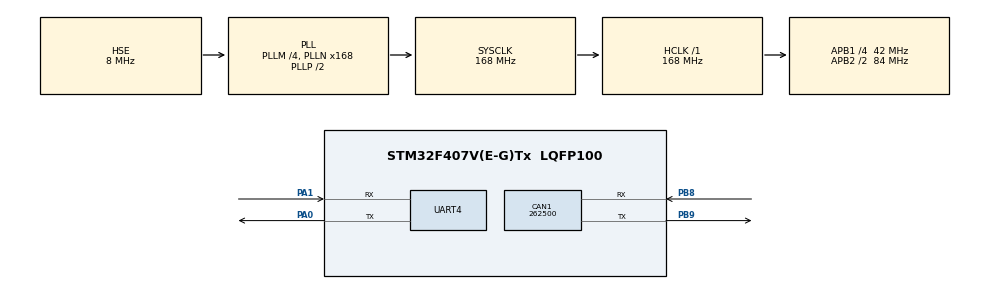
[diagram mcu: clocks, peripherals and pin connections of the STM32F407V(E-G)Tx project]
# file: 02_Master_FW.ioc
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CAN1.BS1=CAN_BS1_6TQ
CAN1.BS2=CAN_BS2_3TQ
CAN1.CalculateBaudRate=262500
CAN1.CalculateTimeBit=3809.52
CAN1.CalculateTimeQuantum=380.95238095238096
Dma.Request0=UART4_TX
Dma.Request1=UART4_RX
Dma.UART4_RX.1.Direction=DMA_PERIPH_TO_MEMORY
Dma.UART4_RX.1.FIFOMode=DMA_FIFOMODE_DISABLE
Dma.UART4_RX.1.Instance=DMA1_Stream2
Dma.UART4_RX.1.MemDataAlignment=DMA_MDATAALIGN_BYTE
Dma.UART4_RX.1.MemInc=DMA_MINC_ENABLE
Dma.UART4_RX.1.Mode=DMA_NORMAL
Dma.UART4_RX.1.PeriphDataAlignment=DMA_PDATAALIGN_BYTE
Dma.UART4_RX.1.PeriphInc=DMA_PINC_DISABLE
Dma.UART4_RX.1.Priority=DMA_PRIORITY_LOW
Dma.UART4_TX.0.Direction=DMA_MEMORY_TO_PERIPH
Dma.UART4_TX.0.FIFOMode=DMA_FIFOMODE_DISABLE
Dma.UART4_TX.0.Instance=DMA1_Stream4
Dma.UART4_TX.0.MemDataAlignment=DMA_MDATAALIGN_BYTE
Dma.UART4_TX.0.MemInc=DMA_MINC_ENABLE
Dma.UART4_TX.0.Mode=DMA_NORMAL
Dma.UART4_TX.0.PeriphDataAlignment=DMA_PDATAALIGN_BYTE
Dma.UART4_TX.0.PeriphInc=DMA_PINC_DISABLE
Dma.UART4_TX.0.Priority=DMA_PRIORITY_LOW
IWDG.Prescaler=IWDG_PRESCALER_16
IWDG.Reload=3999
Mcu.Family=STM32F4
Mcu.Name=STM32F407V(E-G)Tx
Mcu.Package=LQFP100
NVIC.CAN1_RX0_IRQn=true\:0\:0\:false\:false\:true\:true\:true
NVIC.DMA1_Stream2_IRQn=true\:0\:0\:false\:false\:true\:false\:true
NVIC.DMA1_Stream4_IRQn=true\:0\:0\:false\:false\:true\:false\:true
NVIC.PriorityGroup=NVIC_PRIORITYGROUP_4
NVIC.UART4_IRQn=true\:0\:0\:false\:false\:true\:true\:true
PA0-WKUP.Mode=Asynchronous
PA0-WKUP.Signal=UART4_TX
PA1.Mode=Asynchronous
PA1.Signal=UART4_RX
PB8.Mode=CAN_Activate
PB8.Signal=CAN1_RX
PB9.Mode=CAN_Activate
PB9.Signal=CAN1_TX
PH0-OSC_IN.Mode=HSE-External-Oscillator
PH0-OSC_IN.Signal=RCC_OSC_IN
PH1-OSC_OUT.Mode=HSE-External-Oscillator
PH1-OSC_OUT.Signal=RCC_OSC_OUT
ProjectManager.HeapSize=0x200
ProjectManager.StackSize=0x400
ProjectManager.TargetToolchain=MDK-ARM V5.27
RCC.48MHZClocksFreq_Value=84000000
RCC.AHBFreq_Value=168000000
RCC.APB1CLKDivider=RCC_HCLK_DIV4
RCC.APB1Freq_Value=42000000
RCC.APB1TimFreq_Value=84000000
RCC.APB2CLKDivider=RCC_HCLK_DIV2
RCC.APB2Freq_Value=84000000
RCC.APB2TimFreq_Value=168000000
RCC.CortexFreq_Value=168000000
RCC.HCLKFreq_Value=168000000
RCC.HSE_VALUE=8000000
RCC.HSI_VALUE=16000000
RCC.LSE_VALUE=32768
RCC.PLLM=4
RCC.PLLN=168
RCC.PLLSourceVirtual=RCC_PLLSOURCE_HSE
RCC.SYSCLKFreq_VALUE=168000000
RCC.SYSCLKSource=RCC_SYSCLKSOURCE_PLLCLK
RCC.VCOOutputFreq_Value=336000000
UART4.VirtualMode=Asynchronous
VP_IWDG_VS_IWDG.Mode=IWDG_Activate
board=custom

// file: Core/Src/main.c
/* USER CODE BEGIN Header */
/**
  ******************************************************************************
  * @file           : main.c
  * @brief          : Main program body
  ******************************************************************************
  * @attention
  *
  * <h2><center>&copy; Copyright (c) 2021 STMicroelectronics.
  * All rights reserved.</center></h2>
  *
  * This software component is licensed by ST under BSD 3-Clause license,
  * the "License"; You may not use this file except in compliance with the
  * License. You may obtain a copy of the License at:
  *                        opensource.org/licenses/BSD-3-Clause
  *
  ******************************************************************************
  */
/* USER CODE END Header */
#include "main.h"

/* USER CODE BEGIN Includes */
#include "data_format.h"
#include <string.h>

/* USER CODE END Includes */

CAN_HandleTypeDef hcan1;

IWDG_HandleTypeDef hiwdg;

UART_HandleTypeDef huart4;
DMA_HandleTypeDef hdma_uart4_tx;
DMA_HandleTypeDef hdma_uart4_rx;

/* USER CODE BEGIN PV */
CAN_TxHeaderTypeDef TxHeader;
CAN_RxHeaderTypeDef RxHeader;
CAN_FilterTypeDef sFilterConfig;

uint32_t u32_TxMailBox;

uint8_t au8_CAN_TxData[8];
uint8_t au8_UART_TxData[8];

UartTxFrame_t UartTxBuffer;

UartRxFrame_t UART_RxBuffer;
CAN_RxFrame_t CAN_RxBuffer;

FlagStatus CAN_RX_Flag = RESET;

/* USER CODE END PV */

void SystemClock_Config(void);
static void MX_GPIO_Init(void);
static void MX_DMA_Init(void);
static void MX_CAN1_Init(void);
static void MX_UART4_Init(void);
static void MX_IWDG_Init(void);

/* USER CODE BEGIN 0 */
void HAL_UART_RxCpltCallback(UART_HandleTypeDef *huart)
{
  static uint8_t u8_RX_Idx = 0;

  if(UART_RxBuffer.array[u8_RX_Idx] == ETX)
  {
    u8_RX_Idx = 0;

    TxHeader.StdId = UART_RxBuffer.Frame.CAN_ID;
    au8_CAN_TxData[1] = UART_RxBuffer.Frame.Mode;

    switch(UART_RxBuffer.Frame.PeriphType)
    {
      case PERIPH_TYPE_NEO:
        if(UART_RxBuffer.Frame.Mode == LED_MODE_SINGLE)
        {
          au8_CAN_TxData[0] = NEO_MODE_REG_ADDR;
          memcpy(&au8_CAN_TxData[2], &UART_RxBuffer.Frame.ColorRed, 3);
          TxHeader.DLC = 5;
        }
        else
        {
          au8_CAN_TxData[0] = NEO_MODE_REG_ADDR;
          TxHeader.DLC = 2;
        }
        break;
      case PERIPH_TYPE_LED:
        au8_CAN_TxData[0] = LED_REG_ADDR;
        TxHeader.DLC = 2;
        break;
      case PERIPH_TYPE_BTN:
        break;
      default:
        break;
    }
    HAL_CAN_AddTxMessage(&hcan1, &TxHeader, au8_CAN_TxData, &u32_TxMailBox);
    while(HAL_CAN_IsTxMessagePending(&hcan1, u32_TxMailBox));
  }
  else u8_RX_Idx++;

  //HAL_UART_Receive_IT(&huart4, &UART_RxBuffer.array[u8_RX_Idx], 1);
  HAL_UART_Receive_DMA(&huart4, &UART_RxBuffer.array[u8_RX_Idx], 1);
}

void HAL_CAN_RxFifo0MsgPendingCallback(CAN_HandleTypeDef *hcan)
{
  HAL_CAN_GetRxMessage(hcan, CAN_RX_FIFO0, &RxHeader, (uint8_t*)&CAN_RxBuffer);
  CAN_RX_Flag = SET;
}

inline void CAN_Rx_Handle(void)
{
  if(CAN_RX_Flag == SET)
  {
//    au8_UART_TxData[0] = STX;
//    au8_UART_TxData[1] = 5;    // data length
//    au8_UART_TxData[2] = RxHeader.StdId;
//    au8_UART_TxData[3] = 1;
//    au8_UART_TxData[4] = 0;
//    au8_UART_TxData[5] = CAN_RxBuffer.RegAddr;
//    au8_UART_TxData[6] = CAN_RxBuffer.ButtonState;
//    au8_UART_TxData[7] = ETX;

    UartTxBuffer.StartOfFrame = STX;
    UartTxBuffer.DataLength = 5;
    UartTxBuffer.CAN_ID = CAN_RxBuffer.DevID;
    UartTxBuffer.Status = 1;
    UartTxBuffer.Mode = 0;
    UartTxBuffer.RegAddr = CAN_RxBuffer.RegAddr;
    UartTxBuffer.Data = CAN_RxBuffer.ButtonState;
    UartTxBuffer.EndOfFrame = ETX;

    //HAL_UART_Transmit(&huart4, (uint8_t*)&UartTxBuffer, 8, 10);
    HAL_UART_Transmit_DMA(&huart4, (uint8_t*)&UartTxBuffer, 8);
    CAN_RX_Flag = RESET;
  }
}

/* USER CODE END 0 */

int main(void)
{

  /* MCU Configuration--------------------------------------------------------*/

  /* Reset of all peripherals, Initializes the Flash interface and the Systick. */
  HAL_Init();

  /* Configure the system clock */
  SystemClock_Config();

  /* Initialize all configured peripherals */
  MX_GPIO_Init();
  MX_DMA_Init();
  MX_CAN1_Init();
  MX_UART4_Init();
  MX_IWDG_Init();
  /* USER CODE BEGIN 2 */
  sFilterConfig.FilterActivation = ENABLE;
  sFilterConfig.FilterBank = 18;
  sFilterConfig.FilterFIFOAssignment = CAN_FILTER_FIFO0;
  sFilterConfig.FilterIdHigh = 0x65D << 5;
  sFilterConfig.FilterIdLow = 0;
  sFilterConfig.FilterMaskIdHigh = 0xFFF << 5;
  sFilterConfig.FilterMaskIdLow = 0;
  sFilterConfig.FilterMode = CAN_FILTERMODE_IDMASK;
  sFilterConfig.FilterScale = CAN_FILTERSCALE_32BIT;
  sFilterConfig.SlaveStartFilterBank = 40;

  // Initialize CAN filter
  HAL_CAN_ConfigFilter(&hcan1, &sFilterConfig);

  TxHeader.DLC = 5;
  TxHeader.StdId = 0x65D;
  TxHeader.IDE = CAN_ID_STD;
  TxHeader.RTR = CAN_RTR_DATA;
  TxHeader.TransmitGlobalTime = DISABLE;

  HAL_CAN_Start(&hcan1);
  HAL_CAN_ActivateNotification(&hcan1, CAN_IT_RX_FIFO0_MSG_PENDING);

  //HAL_UART_Receive_IT(&huart4, UART_RxBuffer.array, 1);
  HAL_UART_Receive_DMA(&huart4, UART_RxBuffer.array, 1);

  HAL_IWDG_Init(&hiwdg);

  //Disable watchdog for debugging
  //__HAL_DBGMCU_FREEZE_IWDG();

  /* USER CODE END 2 */

  /* Infinite loop */
  /* USER CODE BEGIN WHILE */
  while (1)
  {
    HAL_IWDG_Refresh(&hiwdg);
    CAN_Rx_Handle();
//    uint8_t TxData[5] = {'H', 'E', 'L', 'L', 'O'};
//	  HAL_CAN_AddTxMessage(&hcan1, &TxHeader, TxData, &u32_TxMailBox);
//	  while(HAL_CAN_IsTxMessagePending(&hcan1, u32_TxMailBox));

//	  HAL_Delay(1000);
    /* USER CODE END WHILE */

  }
}

void SystemClock_Config(void)
{
  RCC_OscInitTypeDef RCC_OscInitStruct = {0};
  RCC_ClkInitTypeDef RCC_ClkInitStruct = {0};

  /** Configure the main internal regulator output voltage
  */
  __HAL_RCC_PWR_CLK_ENABLE();
  __HAL_PWR_VOLTAGESCALING_CONFIG(PWR_REGULATOR_VOLTAGE_SCALE1);
  /** Initializes the RCC Oscillators according to the specified parameters
  * in the RCC_OscInitTypeDef structure.
  */
  RCC_OscInitStruct.OscillatorType = RCC_OSCILLATORTYPE_LSI|RCC_OSCILLATORTYPE_HSE;
  RCC_OscInitStruct.HSEState = RCC_HSE_ON;
  RCC_OscInitStruct.LSIState = RCC_LSI_ON;
  RCC_OscInitStruct.PLL.PLLState = RCC_PLL_ON;
  RCC_OscInitStruct.PLL.PLLSource = RCC_PLLSOURCE_HSE;
  RCC_OscInitStruct.PLL.PLLM = 4;
  RCC_OscInitStruct.PLL.PLLN = 168;
  RCC_OscInitStruct.PLL.PLLP = RCC_PLLP_DIV2;
  RCC_OscInitStruct.PLL.PLLQ = 4;
  if (HAL_RCC_OscConfig(&RCC_OscInitStruct) != HAL_OK)
  {
    Error_Handler();
  }
  /** Initializes the CPU, AHB and APB buses clocks
  */
  RCC_ClkInitStruct.ClockType = RCC_CLOCKTYPE_HCLK|RCC_CLOCKTYPE_SYSCLK
                              |RCC_CLOCKTYPE_PCLK1|RCC_CLOCKTYPE_PCLK2;
  RCC_ClkInitStruct.SYSCLKSource = RCC_SYSCLKSOURCE_PLLCLK;
  RCC_ClkInitStruct.AHBCLKDivider = RCC_SYSCLK_DIV1;
  RCC_ClkInitStruct.APB1CLKDivider = RCC_HCLK_DIV4;
  RCC_ClkInitStruct.APB2CLKDivider = RCC_HCLK_DIV2;

  if (HAL_RCC_ClockConfig(&RCC_ClkInitStruct, FLASH_LATENCY_5) != HAL_OK)
  {
    Error_Handler();
  }
}

static void MX_CAN1_Init(void)
{

  hcan1.Instance = CAN1;
  hcan1.Init.Prescaler = 16;
  hcan1.Init.Mode = CAN_MODE_NORMAL;
  hcan1.Init.SyncJumpWidth = CAN_SJW_1TQ;
  hcan1.Init.TimeSeg1 = CAN_BS1_6TQ;
  hcan1.Init.TimeSeg2 = CAN_BS2_3TQ;
  hcan1.Init.TimeTriggeredMode = DISABLE;
  hcan1.Init.AutoBusOff = DISABLE;
  hcan1.Init.AutoWakeUp = DISABLE;
  hcan1.Init.AutoRetransmission = DISABLE;
  hcan1.Init.ReceiveFifoLocked = DISABLE;
  hcan1.Init.TransmitFifoPriority = DISABLE;
  if (HAL_CAN_Init(&hcan1) != HAL_OK)
  {
    Error_Handler();
  }

}

static void MX_IWDG_Init(void)
{

  hiwdg.Instance = IWDG;
  hiwdg.Init.Prescaler = IWDG_PRESCALER_16;
  hiwdg.Init.Reload = 3999;
  if (HAL_IWDG_Init(&hiwdg) != HAL_OK)
  {
    Error_Handler();
  }

}

static void MX_UART4_Init(void)
{

  huart4.Instance = UART4;
  huart4.Init.BaudRate = 115200;
  huart4.Init.WordLength = UART_WORDLENGTH_8B;
  huart4.Init.StopBits = UART_STOPBITS_1;
  huart4.Init.Parity = UART_PARITY_NONE;
  huart4.Init.Mode = UART_MODE_TX_RX;
  huart4.Init.HwFlowCtl = UART_HWCONTROL_NONE;
  huart4.Init.OverSampling = UART_OVERSAMPLING_16;
  if (HAL_UART_Init(&huart4) != HAL_OK)
  {
    Error_Handler();
  }

}

static void MX_DMA_Init(void)
{

  /* DMA controller clock enable */
  __HAL_RCC_DMA1_CLK_ENABLE();

  /* DMA interrupt init */
  /* DMA1_Stream2_IRQn interrupt configuration */
  HAL_NVIC_SetPriority(DMA1_Stream2_IRQn, 0, 0);
  HAL_NVIC_EnableIRQ(DMA1_Stream2_IRQn);
  /* DMA1_Stream4_IRQn interrupt configuration */
  HAL_NVIC_SetPriority(DMA1_Stream4_IRQn, 0, 0);
  HAL_NVIC_EnableIRQ(DMA1_Stream4_IRQn);

}

static void MX_GPIO_Init(void)
{

  /* GPIO Ports Clock Enable */
  __HAL_RCC_GPIOH_CLK_ENABLE();
  __HAL_RCC_GPIOA_CLK_ENABLE();
  __HAL_RCC_GPIOB_CLK_ENABLE();

}

void Error_Handler(void)
{
  __disable_irq();
  while (1)
  {
  }
}

/************************ (C) COPYRIGHT STMicroelectronics *****END OF FILE****/
